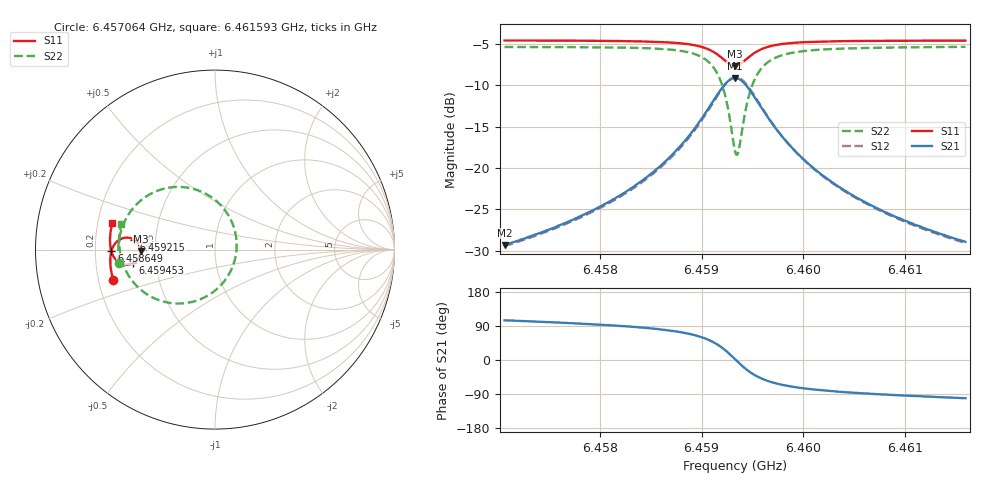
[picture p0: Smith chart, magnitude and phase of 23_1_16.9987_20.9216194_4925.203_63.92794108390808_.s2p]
#  HZ  S  RI  R  50.00
! Rohde & Schwarz Vector Network Analyzer
! Rohde-Schwarz,ZNB20-2Port,1311601062101988,3.16
! Created: UTC 3/20/2024, 10:53:04 PM
! freq[Hz]  re:S11  im:S11  re:S21  im:S21  re:S12  im:S12  re:S22  im:S22
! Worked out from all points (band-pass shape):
!   401 points, 6.457064 GHz to 6.461593 GHz, reference 50 ohm
!   highest |S21| = -9.10 dB at 6.459329 GHz (marker M1); lowest = -29.3 dB at 6.457064 GHz (marker M2)
!   |S21| within 3 dB of the highest: 6.459103 GHz to 6.459557 GHz (453.3 kHz wide, 0.00702 % of centre)
!   lowest |S11| = -7.6 dB at 6.459329 GHz (marker M3), VSWR 2.42, Z = 20.7 - j0.387 ohm
!   |S11| at or under -10 dB: nowhere
!   |S22| runs from -18.4 to -5.3 dB; largest |S21 - S12| = 0.014
!   S11 on the Smith chart (normalised r, x): 6.457064 GHz: 0.26, -0.13; 6.458649 GHz: 0.27, -0.01; 6.459215 GHz: 0.38, +0.05; 6.459453 GHz: 0.37, -0.07; 6.461593 GHz: 0.26, +0.12
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6.4570639e9  -0.5678 -0.167  -0.00864 0.033  -0.0069 0.0329  -0.5346 -0.0765
6.4578226e9  -0.5811 -0.1003  -0.00518 0.0512  -0.0025 0.0505  -0.5387 0.0134
6.4582529e9  -0.5835 -0.0569  0.00119 0.0716  0.00453 0.0701  -0.5289 0.0825
6.4585813e9  -0.5794 -0.0171  0.0152 0.0999  0.0192 0.0971  -0.5029 0.158
6.4586492e9  -0.5771 -0.00754  0.0207 0.1083  0.0247 0.1051  -0.4926 0.1782
6.4588417e9  -0.5642 0.0229  0.0478 0.1395  0.0518 0.1345  -0.4418 0.2473
6.4589889e9  -0.5412 0.049  0.0937 0.1701  0.0967 0.1633  -0.3573 0.3111
6.4591248e9  -0.497 0.0666  0.1817 0.1865  0.1824 0.1791  -0.1966 0.3491
6.4592154e9  -0.4518 0.0562  0.2724 0.1549  0.2725 0.1492  -0.0288 0.2978
6.4592833e9  -0.4222 0.0238  0.3337 0.0823  0.3358 0.0774  0.0878 0.1669
6.4593286e9  -0.4149 -0.00775  0.3504 0.0136  0.3542 0.00711  0.1206 0.0386
6.4593626e9  -0.4188 -0.032  0.3448 -0.0397  0.3489 -0.0485  0.1093 -0.0623
6.4594079e9  -0.4345 -0.0587  0.3159 -0.1006  0.3184 -0.1124  0.0507 -0.1777
6.4594532e9  -0.4567 -0.0756  0.273 -0.1425  0.2726 -0.1559  -0.0359 -0.2538
6.4595438e9  -0.5009 -0.083  0.1867 -0.1741  0.1806 -0.1859  -0.2082 -0.3006
6.4596117e9  -0.5257 -0.0757  0.1373 -0.172  0.1295 -0.1811  -0.3032 -0.2848
6.459691e9  -0.5457 -0.0625  0.0972 -0.1598  0.0885 -0.1661  -0.3786 -0.2495
6.4598495e9  -0.5677 -0.0348  0.0516 -0.1311  0.0437 -0.1339  -0.4599 -0.1757
6.4600873e9  -0.5806 0.00087  0.0221 -0.0989  0.0163 -0.0995  -0.5081 -0.0921
6.4604157e9  -0.5852 0.0404  0.00632 -0.0723  0.00214 -0.0717  -0.5288 -0.0146
6.460846e9  -0.5834 0.0841  -0.00165 -0.0527  -0.00452 -0.0518  -0.5331 0.0558
6.4615933e9  -0.5714 0.1506  -0.00672 -0.035  -0.00849 -0.0342  -0.5215 0.1451
